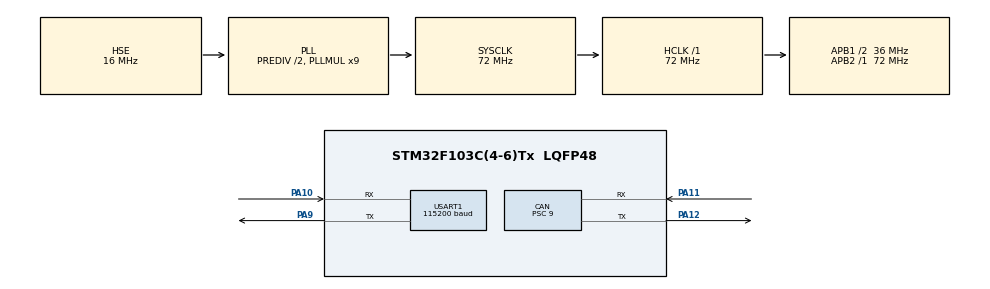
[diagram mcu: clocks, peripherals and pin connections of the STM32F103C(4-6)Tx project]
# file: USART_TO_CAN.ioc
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CAN.BS1=CAN_BS1_2TQ
CAN.BS2=CAN_BS2_1TQ
CAN.CalculateBaudRate=1000000
CAN.CalculateTimeBit=1000
CAN.CalculateTimeQuantum=250.0
CAN.Prescaler=9
Dma.Request0=USART1_RX
Dma.Request1=USART1_TX
Dma.USART1_RX.0.Direction=DMA_PERIPH_TO_MEMORY
Dma.USART1_RX.0.Instance=DMA1_Channel5
Dma.USART1_RX.0.MemDataAlignment=DMA_MDATAALIGN_BYTE
Dma.USART1_RX.0.MemInc=DMA_MINC_ENABLE
Dma.USART1_RX.0.Mode=DMA_NORMAL
Dma.USART1_RX.0.PeriphDataAlignment=DMA_PDATAALIGN_BYTE
Dma.USART1_RX.0.PeriphInc=DMA_PINC_DISABLE
Dma.USART1_RX.0.Priority=DMA_PRIORITY_MEDIUM
Dma.USART1_TX.1.Direction=DMA_MEMORY_TO_PERIPH
Dma.USART1_TX.1.Instance=DMA1_Channel4
Dma.USART1_TX.1.MemDataAlignment=DMA_MDATAALIGN_BYTE
Dma.USART1_TX.1.MemInc=DMA_MINC_ENABLE
Dma.USART1_TX.1.Mode=DMA_NORMAL
Dma.USART1_TX.1.PeriphDataAlignment=DMA_PDATAALIGN_BYTE
Dma.USART1_TX.1.PeriphInc=DMA_PINC_DISABLE
Dma.USART1_TX.1.Priority=DMA_PRIORITY_MEDIUM
Mcu.Family=STM32F1
Mcu.Name=STM32F103C(4-6)Tx
Mcu.Package=LQFP48
NVIC.CAN1_RX1_IRQn=true\:0\:0\:false\:false\:true\:true\:true\:true
NVIC.DMA1_Channel4_IRQn=true\:0\:0\:false\:false\:true\:false\:true\:true
NVIC.DMA1_Channel5_IRQn=true\:0\:0\:false\:false\:true\:false\:true\:true
NVIC.PriorityGroup=NVIC_PRIORITYGROUP_4
NVIC.TIM1_UP_IRQn=true\:0\:0\:false\:false\:true\:true\:true\:true
NVIC.USART1_IRQn=true\:0\:0\:false\:false\:true\:true\:true\:true
PA10.Mode=Asynchronous
PA10.Signal=USART1_RX
PA11.Mode=CAN_Activate
PA11.Signal=CAN_RX
PA12.Mode=CAN_Activate
PA12.Signal=CAN_TX
PA13.Mode=Serial_Wire
PA13.Signal=SYS_JTMS-SWDIO
PA14.Mode=Serial_Wire
PA14.Signal=SYS_JTCK-SWCLK
PA9.Mode=Asynchronous
PA9.Signal=USART1_TX
PD0-OSC_IN.Mode=HSE-External-Oscillator
PD0-OSC_IN.Signal=RCC_OSC_IN
PD1-OSC_OUT.Mode=HSE-External-Oscillator
PD1-OSC_OUT.Signal=RCC_OSC_OUT
ProjectManager.HeapSize=0x200
ProjectManager.StackSize=0x400
ProjectManager.TargetToolchain=MDK-ARM V5.32
RCC.AHBFreq_Value=72000000
RCC.APB1CLKDivider=RCC_HCLK_DIV2
RCC.APB1Freq_Value=36000000
RCC.APB1TimFreq_Value=72000000
RCC.APB2Freq_Value=72000000
RCC.APB2TimFreq_Value=72000000
RCC.HCLKFreq_Value=72000000
RCC.HSEDivPLL=RCC_HSE_PREDIV_DIV2
RCC.HSE_VALUE=16000000
RCC.PLLMUL=RCC_PLL_MUL9
RCC.PLLSourceVirtual=RCC_PLLSOURCE_HSE
RCC.SYSCLKFreq_VALUE=72000000
RCC.SYSCLKSource=RCC_SYSCLKSOURCE_PLLCLK
RCC.USBFreq_Value=72000000
TIM1.Period=19999
TIM1.Prescaler=71
USART1.BaudRate=115200
USART1.VirtualMode=VM_ASYNC
VP_TIM1_VS_ClockSourceINT.Mode=Internal
board=custom

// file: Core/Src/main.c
/* USER CODE BEGIN Header */
/**
  ******************************************************************************
  * @file           : main.c
  * @brief          : Main program body
  ******************************************************************************
  * @attention
  *
  * Copyright (c) 2022 STMicroelectronics.
  * All rights reserved.
  *
  * This software is licensed under terms that can be found in the LICENSE file
  * in the root directory of this software component.
  * If no LICENSE file comes with this software, it is provided AS-IS.
  *
  ******************************************************************************
  */
/* USER CODE END Header */
#include "main.h"
#include "can.h"
#include "dma.h"
#include "tim.h"
#include "usart.h"
#include "gpio.h"

/* USER CODE BEGIN Includes */
#include "bsp_can.h"
#include "bsp_Referee.h"
#include "Referee_Behaviour.h"
#include "stdio.h"
#include "string.h"
#include "Referee_CAN.h"
/* USER CODE END Includes */

/* USER CODE BEGIN PV */
uint8_t Data[8] = {0,1,2,3,4,5,6,7};
int Current = 8000;
/* USER CODE END PV */

void SystemClock_Config(void);

int main(void)
{

  /* MCU Configuration--------------------------------------------------------*/

  /* Reset of all peripherals, Initializes the Flash interface and the Systick. */
  HAL_Init();

  /* Configure the system clock */
  SystemClock_Config();

  /* Initialize all configured peripherals */
  MX_GPIO_Init();
  MX_DMA_Init();
  MX_CAN_Init();
  MX_TIM1_Init();
  MX_USART1_UART_Init();
  /* USER CODE BEGIN 2 */
  Can_Filter_Init();
//  HAL_TIM_Base_Start_IT(&htim1);
//  usart1_init(Referee_Buffer[Buffer_Choose],Referee_Buffer_Length);
  /* USER CODE END 2 */

  /* Infinite loop */
  while (1)
  {

    /* USER CODE BEGIN 3 */
//	USART_Data_Slove();
//	Referee_Send_Data();
//
	Data[0] =Current >> 8;
	Data[1] =Current;
	Data[2] =Current >> 8;
    Data[3] =Current;
    Data[4] =Current >> 8;
	Data[5] =Current;
	Data[6] =Current >> 8;
	Data[7] =Current;
	Can_Send_Data(&hcan,0x1FF,8,Data);

	HAL_Delay(10);
  }
  /* USER CODE END 3 */
}

void SystemClock_Config(void)
{
  RCC_OscInitTypeDef RCC_OscInitStruct = {0};
  RCC_ClkInitTypeDef RCC_ClkInitStruct = {0};

  /** Initializes the RCC Oscillators according to the specified parameters
  * in the RCC_OscInitTypeDef structure.
  */
  RCC_OscInitStruct.OscillatorType = RCC_OSCILLATORTYPE_HSE;
  RCC_OscInitStruct.HSEState = RCC_HSE_ON;
  RCC_OscInitStruct.HSEPredivValue = RCC_HSE_PREDIV_DIV2;
  RCC_OscInitStruct.HSIState = RCC_HSI_ON;
  RCC_OscInitStruct.PLL.PLLState = RCC_PLL_ON;
  RCC_OscInitStruct.PLL.PLLSource = RCC_PLLSOURCE_HSE;
  RCC_OscInitStruct.PLL.PLLMUL = RCC_PLL_MUL9;
  if (HAL_RCC_OscConfig(&RCC_OscInitStruct) != HAL_OK)
  {
    Error_Handler();
  }

  /** Initializes the CPU, AHB and APB buses clocks
  */
  RCC_ClkInitStruct.ClockType = RCC_CLOCKTYPE_HCLK|RCC_CLOCKTYPE_SYSCLK
                              |RCC_CLOCKTYPE_PCLK1|RCC_CLOCKTYPE_PCLK2;
  RCC_ClkInitStruct.SYSCLKSource = RCC_SYSCLKSOURCE_PLLCLK;
  RCC_ClkInitStruct.AHBCLKDivider = RCC_SYSCLK_DIV1;
  RCC_ClkInitStruct.APB1CLKDivider = RCC_HCLK_DIV2;
  RCC_ClkInitStruct.APB2CLKDivider = RCC_HCLK_DIV1;

  if (HAL_RCC_ClockConfig(&RCC_ClkInitStruct, FLASH_LATENCY_2) != HAL_OK)
  {
    Error_Handler();
  }
}

void Error_Handler(void)
{
  __disable_irq();
  while (1)
  {
  }
}
